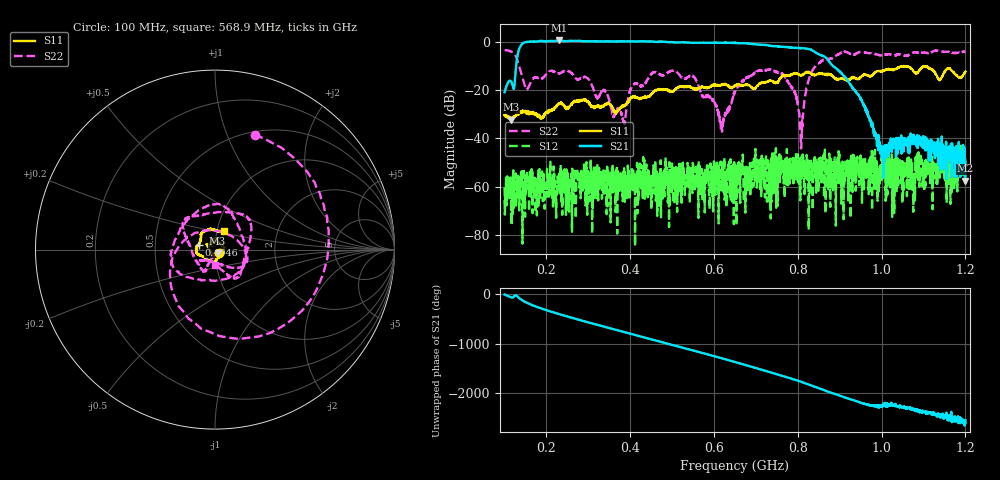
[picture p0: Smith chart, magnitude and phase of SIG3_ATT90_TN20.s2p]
# Hz S DB R 50
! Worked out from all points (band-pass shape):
!   1601 points, 100 MHz to 1.2 GHz, reference 50 ohm
!   highest |S21| = 0.66 dB at 229.2 MHz (marker M1); lowest = -57.6 dB at 1.199 GHz (marker M2)
!   |S21| within 3 dB of the highest: 136.1 MHz to 786.1 MHz (650.1 MHz wide, 141 % of centre); 786.1266 MHz to 787.1895 MHz (1.063 MHz wide, 0.135 % of centre) (the widest 2 of 3)
!   lowest |S11| = -32.3 dB at 115.1 MHz (marker M3), VSWR 1.05, Z = 51.4 - j2.04 ohm
!   |S11| at or under -10 dB: start of sweep to 1.05 GHz; 1.058 GHz to 1.104 GHz (45.14 MHz wide, 4.18 % of centre); 1.104 GHz to end of sweep (the widest 3 of 8)
!   |S22| runs from -44.2 to -3.4 dB; largest |S21 - S12| = 1.1
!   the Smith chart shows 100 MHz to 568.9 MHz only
!   S11 on the Smith chart (normalised r, x): 100 MHz: 1.05, -0.04; 494.6 MHz: 0.84, +0.05; 568.9 MHz: 1.09, +0.23
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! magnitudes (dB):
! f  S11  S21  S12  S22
! 100 MHz  -30.3  -20.8  -60.4  -3.4
! 115.1 MHz  -32.3  -16.2  -62.7  -3.9
! 152.2 MHz  -29.2  0.0  -55.1  -19.7
! 229.2 MHz  -25.7  0.7  -60.4  -13.0
! 283.6 MHz  -24.4  0.4  -54.6  -14.8
! 383.9 MHz  -26.8  0.3  -59.0  -33.2
! 405.9 MHz  -23.0  0.3  -62.0  -17.7
! 467.1 MHz  -19.9  0.1  -54.4  -13.0
! 494.6 MHz  -20.7  0.0  -67.4  -12.1
! 568.9 MHz  -18.7  -0.3  -61.9  -21.5
! 617.7 MHz  -17.6  -0.3  -60.2  -36.2
! 650 MHz  -18.3  -0.4  -61.3  -20.4
! 663.1 MHz  -18.0  -0.5  -52.1  -16.8
! 758.6 MHz  -14.8  -1.9  -55.1  -12.8
! 792.3 MHz  -12.8  -2.4  -51.6  -20.2
! 807.4 MHz  -14.0  -2.6  -55.6  -44.2
! 833.6 MHz  -13.4  -3.4  -50.6  -12.2
! 916.1 MHz  -15.7  -15.3  -50.9  -4.1
! 999.9 MHz  -11.8  -45.2  -47.7  -5.6
! 1.017 GHz  -11.3  -46.9  -46.9  -5.0
! 1.199 GHz  -12.3  -57.6  -47.3  -3.8
! 1.2 GHz  -12.3  -50.0  -52.3  -3.8
